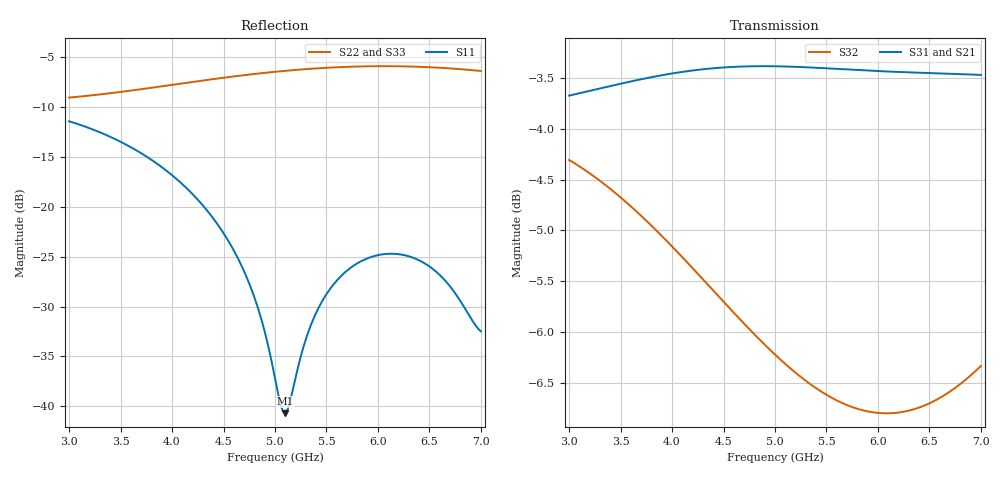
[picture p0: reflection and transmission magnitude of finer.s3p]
! yapnr rf: divider-osh-w-star-sched-w-nom-fwd, footprint re-simulated (refine 3)
! spec sha256 8c079531440f0056dd54a4f90b423d4cc30312f36e97c5c88ba4866864ec55a1
! 3 ports renormalized to 50 ohm, e^(+jwt) convention
# GHz S RI R 50
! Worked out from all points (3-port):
!   161 points, 3 GHz to 7 GHz, reference 50 ohm
!   strongest paths, dB at 3 GHz, 4 GHz, 5 GHz, 6 GHz, 7 GHz:
!     S31: -3.7, -3.5, -3.4, -3.4, -3.5
!     S21: -3.7, -3.5, -3.4, -3.4, -3.5
!     S32: -4.3, -5.2, -6.2, -6.8, -6.3
!   lowest |S11| = -40.7 dB at 5.1 GHz (marker M1), VSWR 1.02, Z = 49.5 + j0.796 ohm
!   |S11| at or under -10 dB: start of sweep to end of sweep
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3  -0.0904 0.2534  -0.3567 -0.5501  -0.3567 -0.5501
   -0.3566 -0.5496  0.3095 0.1715  -0.577 -0.195
   -0.3566 -0.5496  -0.577 -0.195  0.3095 0.1715
3.6  0.00504 0.1993  -0.5714 -0.3422  -0.5714 -0.3422
     -0.5711 -0.3423  0.3799 -0.0518  -0.5609 0.1388
     -0.5711 -0.3423  -0.5609 0.1388  0.3799 -0.0518
4.35  0.0441 0.0837  -0.674 0.0333  -0.674 0.0333
      -0.6746 0.0322  0.2808 -0.3314  -0.3195 0.4212
      -0.6746 0.0322  -0.3195 0.4212  0.2808 -0.3314
4.75  0.0245 0.0332  -0.6305 0.2437  -0.6305 0.2437
      -0.6323 0.2426  0.1568 -0.434  -0.1523 0.4792
      -0.6323 0.2426  -0.1523 0.4792  0.1568 -0.434
5  0.00421 0.0132  -0.569 0.364  -0.569 0.364
   -0.5715 0.3635  0.0637 -0.4722  -0.0501 0.4859
   -0.5715 0.3635  -0.0501 0.4859  0.0637 -0.4722
5.1  -0.00453 0.00803  -0.5378 0.4082  -0.5378 0.4082
     -0.5404 0.408  0.0245 -0.4813  -0.0108 0.4832
     -0.5404 0.408  -0.0108 0.4832  0.0245 -0.4813
5.425  -0.0312 0.00181  -0.4133 0.5317  -0.4133 0.5317
       -0.4162 0.5327  -0.1051 -0.4852  0.108 0.4567
       -0.4162 0.5327  0.108 0.4567  -0.1051 -0.4852
5.875  -0.0533 0.0118  -0.1976 0.641  -0.1976 0.641
       -0.1996 0.6439  -0.2725 -0.428  0.2483 0.3852
       -0.1996 0.6439  0.2483 0.3852  -0.2725 -0.428
6.475  -0.0453 0.0241  0.1247 0.6569  0.1247 0.6569
       0.1259 0.6603  -0.4296 -0.2617  0.3929 0.2424
       0.1259 0.6603  0.3929 0.2424  -0.4296 -0.2617
7  -0.0237 -0.00108  0.3897 0.5424  0.3897 0.5424
   0.3932 0.5433  -0.475 -0.0752  0.4765 0.0738
   0.3932 0.5433  0.4765 0.0738  -0.475 -0.0752
